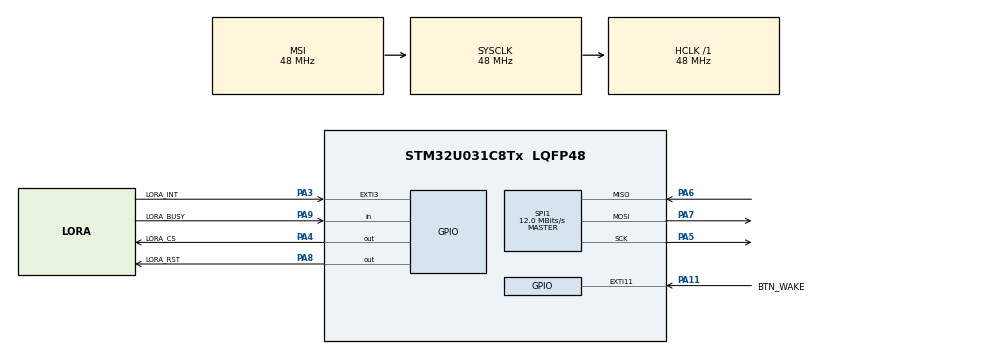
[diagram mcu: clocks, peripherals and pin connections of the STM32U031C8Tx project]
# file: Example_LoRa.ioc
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Mcu.Family=STM32U0
Mcu.Name=STM32U031C8Tx
Mcu.Package=LQFP48
Mcu.UserConstants=RTC_PREDIV_A,((1<<(15-RTC_N_PREDIV_S))-1);RTC_N_PREDIV_S,10;RTC_PREDIV_S,((1<<RTC_N_PREDIV_S)-1)
NVIC.EXTI2_3_IRQn=true\:0\:0\:false\:false\:true\:true\:true\:true
NVIC.EXTI4_15_IRQn=true\:0\:0\:false\:false\:true\:true\:true\:true
NVIC.PriorityGroup=NVIC_PRIORITYGROUP_2
PA11\ [PA9].GPIO_Label=BTN_WAKE
PA11\ [PA9].GPIO_ModeDefaultEXTI=GPIO_MODE_IT_FALLING
PA11\ [PA9].Signal=GPXTI11
PA13\ (SWDIO).Mode=Serial_Wire
PA13\ (SWDIO).Signal=DEBUG_JTMS-SWDIO
PA14\ (SWCLK).Mode=Serial_Wire
PA14\ (SWCLK).Signal=DEBUG_JTCK-SWCLK
PA3.GPIO_Label=LORA_INT
PA3.Signal=GPXTI3
PA4.GPIO_Label=LORA_CS
PA4.PinState=GPIO_PIN_SET
PA4.Signal=GPIO_Output
PA5.Mode=Full_Duplex_Master
PA5.Signal=SPI1_SCK
PA6.Mode=Full_Duplex_Master
PA6.Signal=SPI1_MISO
PA7.Mode=Full_Duplex_Master
PA7.Signal=SPI1_MOSI
PA8.GPIO_Label=LORA_RST
PA8.PinState=GPIO_PIN_SET
PA8.Signal=GPIO_Output
PA9.GPIO_Label=LORA_BUSY
PA9.Signal=GPIO_Input
ProjectManager.HeapSize=0x200
ProjectManager.StackSize=0x400
ProjectManager.TargetToolchain=STM32CubeIDE
RCC.ADCFreq_Value=48000000
RCC.AHBFreq_Value=48000000
RCC.CortexFreq_Value=48000000
RCC.HCLKFreq_Value=48000000
RCC.HSE_VALUE=8000000
RCC.HSI48_VALUE=48000000
RCC.HSI_VALUE=16000000
RCC.LSE_VALUE=32768
RCC.MSIClockRangeVal=RCC_MSIRANGE_11
RCC.MSI_VALUE=48000000
RCC.PLLN=8
RCC.PLLP=RCC_PLLP_DIV8
RCC.PLLQ=RCC_PLLQ_DIV8
RCC.PLLR=RCC_PLLR_DIV4
RCC.PLLSourceVirtual=RCC_PLLSOURCE_MSI
RCC.SYSCLKFreq_VALUE=48000000
RCC.SYSCLKSource=RCC_SYSCLKSOURCE_MSI
RCC.VCOOutputFreq_Value=384000000
SPI1.BaudRatePrescaler=SPI_BAUDRATEPRESCALER_4
SPI1.CalculateBaudRate=12.0 MBits/s
SPI1.DataSize=SPI_DATASIZE_8BIT
SPI1.Direction=SPI_DIRECTION_2LINES
SPI1.Mode=SPI_MODE_MASTER
SPI1.VirtualType=VM_MASTER
VP_PWR_VS_SECSignals.Mode=Security/Privilege
board=custom

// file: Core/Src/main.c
/* USER CODE BEGIN Header */
/**
  ******************************************************************************
  * @file           : main.c
  * @brief          : Main program body
  ******************************************************************************
  * @attention
  *
  * Copyright (c) 2024 STMicroelectronics.
  * All rights reserved.
  *
  * This software is licensed under terms that can be found in the LICENSE file
  * in the root directory of this software component.
  * If no LICENSE file comes with this software, it is provided AS-IS.
  *
  ******************************************************************************
  */
/* USER CODE END Header */
#include "main.h"
#include "spi.h"
#include "gpio.h"

/* USER CODE BEGIN Includes */
#include "lora/radio/radio.h"
#include "lora/sx126x/sx126x_bsp.h"
#include "lora/sx126x/sx126x.h"
#include "string.h"
#include "stdio.h"
/* USER CODE END Includes */

/* USER CODE BEGIN PM */
#define RF_FREQUENCY 923000000  // Hz
#define TX_OUTPUT_POWER 22		// dBm
#define LORA_BANDWIDTH 0		// [0: 125 kHz, 1: 250 kHz, 2: 500 kHz, 3: Reserved]
#define LORA_SPREADING_FACTOR 7 // [SF7..SF12]
#define LORA_CODINGRATE 1		// [1: 4/5, 2: 4/6,  3: 4/7,  4: 4/8]
#define LORA_PREAMBLE_LENGTH 8  // Same for Tx and Rx
#define LORA_SYMBOL_TIMEOUT 0   // Symbols
#define LORA_FIX_LENGTH_PAYLOAD_ON false
#define LORA_IQ_INVERSION_ON false
#define BUFFER_SIZE 64 // Define the payload size here
/* USER CODE END PM */

/* USER CODE BEGIN PV */

static uint8_t act_send = 0;
/* USER CODE END PV */

void SystemClock_Config(void);
/* USER CODE BEGIN PFP */
void OnTxDone(void);
void OnRxDone(uint8_t *payload, uint16_t size, int16_t rssi, int8_t snr);
/* USER CODE END PFP */

/* USER CODE BEGIN 0 */
static RadioEvents_t RadioEvents = {
	.TxDone = OnTxDone,
	.RxDone = OnRxDone,
};
/* USER CODE END 0 */

int main(void)
{

  /* MCU Configuration--------------------------------------------------------*/

  /* Reset of all peripherals, Initializes the Flash interface and the Systick. */
  HAL_Init();

  /* Configure the system clock */
  SystemClock_Config();

  /* Initialize all configured peripherals */
  MX_GPIO_Init();
  MX_SPI1_Init();
  /* USER CODE BEGIN 2 */
	RadioEvents.TxDone = OnTxDone;
	RadioEvents.RxDone = OnRxDone;
	SX126xIoInit();
	Radio.Init(&RadioEvents);

	Radio.SetChannel(RF_FREQUENCY);
	Radio.SetTxConfig(MODEM_LORA, TX_OUTPUT_POWER, 0, LORA_BANDWIDTH,
					  LORA_SPREADING_FACTOR, LORA_CODINGRATE,
					  LORA_PREAMBLE_LENGTH, LORA_FIX_LENGTH_PAYLOAD_ON,
					  true, 0, 0, LORA_IQ_INVERSION_ON, 0);
	Radio.SetRxConfig(MODEM_LORA, LORA_BANDWIDTH, LORA_SPREADING_FACTOR,
					  LORA_CODINGRATE, 0, LORA_PREAMBLE_LENGTH,
					  LORA_SYMBOL_TIMEOUT, LORA_FIX_LENGTH_PAYLOAD_ON,
					  0, true, 0, 0, LORA_IQ_INVERSION_ON, true);
	Radio.Rx(0);
  /* USER CODE END 2 */

  /* Infinite loop */
  while (1)
  {

    /* USER CODE BEGIN 3 */
	  Radio.BgIrqProcess();

	  if(act_send == 1){
		  act_send = 0;
		  Radio.Send((uint8_t *)"Hello world!", strlen("Hello world!"));
	  }
  }
  /* USER CODE END 3 */
}

void SystemClock_Config(void)
{
  RCC_OscInitTypeDef RCC_OscInitStruct = {0};
  RCC_ClkInitTypeDef RCC_ClkInitStruct = {0};

  /** Configure the main internal regulator output voltage
  */
  HAL_PWREx_ControlVoltageScaling(PWR_REGULATOR_VOLTAGE_SCALE1);

  /** Initializes the RCC Oscillators according to the specified parameters
  * in the RCC_OscInitTypeDef structure.
  */
  RCC_OscInitStruct.OscillatorType = RCC_OSCILLATORTYPE_MSI;
  RCC_OscInitStruct.MSIState = RCC_MSI_ON;
  RCC_OscInitStruct.MSICalibrationValue = RCC_MSICALIBRATION_DEFAULT;
  RCC_OscInitStruct.MSIClockRange = RCC_MSIRANGE_11;
  RCC_OscInitStruct.PLL.PLLState = RCC_PLL_NONE;
  if (HAL_RCC_OscConfig(&RCC_OscInitStruct) != HAL_OK)
  {
    Error_Handler();
  }

  /** Initializes the CPU, AHB and APB buses clocks
  */
  RCC_ClkInitStruct.ClockType = RCC_CLOCKTYPE_HCLK|RCC_CLOCKTYPE_SYSCLK
                              |RCC_CLOCKTYPE_PCLK1;
  RCC_ClkInitStruct.SYSCLKSource = RCC_SYSCLKSOURCE_MSI;
  RCC_ClkInitStruct.AHBCLKDivider = RCC_SYSCLK_DIV1;
  RCC_ClkInitStruct.APB1CLKDivider = RCC_HCLK_DIV1;

  if (HAL_RCC_ClockConfig(&RCC_ClkInitStruct, FLASH_LATENCY_1) != HAL_OK)
  {
    Error_Handler();
  }
}

/* USER CODE BEGIN 4 */
void HAL_GPIO_EXTI_Rising_Callback(uint16_t GPIO_Pin){
	if(GPIO_Pin == LORA_INT_Pin){
		extern void RadioOnDioIrq(void);
		RadioOnDioIrq();
	}
}

void HAL_GPIO_EXTI_Falling_Callback(uint16_t GPIO_Pin){
	if(GPIO_Pin == BTN_WAKE_Pin){
		for(uint32_t i=0; i<120000; i++) __NOP(); //10ms
		if(HAL_GPIO_ReadPin(BTN_WAKE_GPIO_Port, BTN_WAKE_Pin) == GPIO_PIN_RESET){
			act_send = 1;
		}
	}
}

void OnTxDone(void){
	/// LoRa packet transfer done.
	/// TODO: User operations.
	/// *****
	/// Set Radio to Receive mode after transfer packet done.
	Radio.Rx(0); //[Do not remove this function call]
}

/**@brief Function to be executed on Radio Rx Done event
 */
void OnRxDone(uint8_t *payload, uint16_t size, int16_t rssi, int8_t snr){
	/// LoRa packet received.
	/// TODO: User operations.
	/// ***************************
	/// payload: Received payload.
	/// size: payload size
	/// rssi: Signal RSSI
	/// snr: Signal SNR
	/// ***************************
}
/* USER CODE END 4 */

void Error_Handler(void)
{
  __disable_irq();
  while (1)
  {
  }
}
